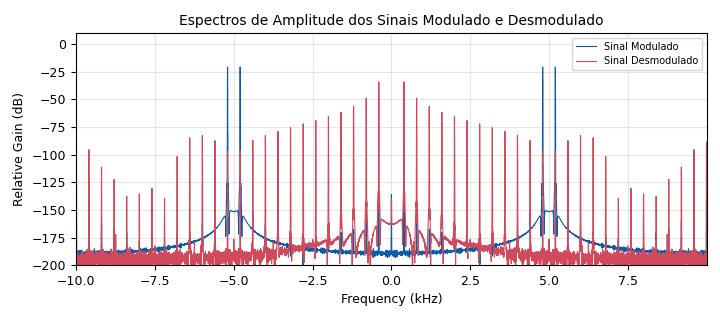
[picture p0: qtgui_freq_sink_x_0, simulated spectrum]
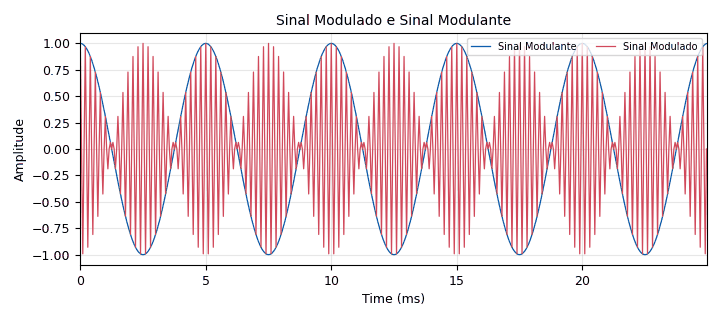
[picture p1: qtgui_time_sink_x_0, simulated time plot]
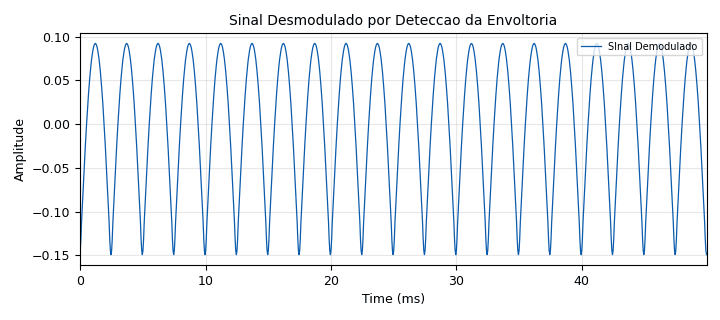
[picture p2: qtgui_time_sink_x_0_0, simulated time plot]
options:
  parameters:
    category: Custom
    generate_options: qt_gui
    id: Labo3_3
    output_language: python
    title: Detecção de envoltória de AM-DSB
  states: {}

blocks:
- name: A
  id: variable_qtgui_range
  parameters:
    gui_hint: 1,1,1,1
    label: Portadora
    outputmsgname: value
    showports: 'False'
    start: '0'
    step: '0.1'
    stop: '3'
    value: '0'
  states: {}
- name: samp_rate
  id: variable
  parameters:
    value: '20000'
  states: {}
- name: Amplitude_Portadora
  id: analog_const_source_x
  parameters:
    const: A
    type: float
  states: {}
- name: Portadora
  id: analog_sig_source_x
  parameters:
    amp: '1'
    freq: '5000'
    offset: '0'
    phase: '0'
    samp_rate: samp_rate
    type: float
    waveform: analog.GR_COS_WAVE
  states: {}
- name: Sinal_Modulante
  id: analog_sig_source_x
  parameters:
    amp: '1'
    freq: '200'
    offset: '0'
    phase: '0'
    samp_rate: samp_rate
    type: float
    waveform: analog.GR_COS_WAVE
  states: {}
- name: analog_am_demod_cf_0
  id: analog_am_demod_cf
  parameters:
    audio_decim: '1'
    audio_pass: '6000.0'
    audio_stop: '7000.0'
    chan_rate: samp_rate
  states: {}
- name: blocks_add_xx_0
  id: blocks_add_xx
  parameters:
    type: float
  states: {}
- name: blocks_float_to_complex_0
  id: blocks_float_to_complex
  parameters: {}
  states: {}
- name: blocks_multiply_xx_0
  id: blocks_multiply_xx
  parameters:
    type: float
  states: {}
- name: blocks_throttle_0
  id: blocks_throttle
  parameters:
    samples_per_second: samp_rate
    type: float
  states: {}
- name: dc_blocker_xx_0_0
  id: dc_blocker_xx
  parameters:
    length: '1000'
    long_form: 'True'
    type: ff
  states: {}
- name: qtgui_freq_sink_x_0
  id: qtgui_freq_sink_x
  parameters:
    bw: samp_rate
    fc: '0'
    fftsize: 2**13
    grid: 'True'
    gui_hint: 0,1,1,1
    label1: Sinal Modulado
    label2: Sinal Desmodulado
    name: Espectros de Amplitude dos Sinais Modulado e Desmodulado
    nconnections: '2'
    showports: 'True'
    type: float
    ymin: '-200'
  states: {}
- name: qtgui_time_sink_x_0
  id: qtgui_time_sink_x
  parameters:
    autoscale: 'True'
    grid: 'True'
    gui_hint: 0,0,1,1
    label1: Sinal Modulante
    label2: Sinal Modulado
    name: Sinal Modulado e Sinal Modulante
    nconnections: '2'
    size: '500'
    srate: samp_rate
    tr_level: '1'
    type: float
    ymax: '3'
    ymin: '-3'
  states: {}
- name: qtgui_time_sink_x_0_0
  id: qtgui_time_sink_x
  parameters:
    autoscale: 'True'
    grid: 'True'
    gui_hint: 1,0,1,1
    label1: SInal Demodulado
    name: Sinal Desmodulado por Deteccao da Envoltoria
    size: '1000'
    srate: samp_rate
    tr_level: '1'
    type: float
  states: {}

connections:
- [Amplitude_Portadora, '0', blocks_add_xx_0, '1']
- [Portadora, '0', blocks_throttle_0, '0']
- [Sinal_Modulante, '0', blocks_add_xx_0, '0']
- [Sinal_Modulante, '0', qtgui_time_sink_x_0, '0']
- [analog_am_demod_cf_0, '0', dc_blocker_xx_0_0, '0']
- [blocks_add_xx_0, '0', blocks_multiply_xx_0, '0']
- [blocks_float_to_complex_0, '0', analog_am_demod_cf_0, '0']
- [blocks_multiply_xx_0, '0', blocks_float_to_complex_0, '0']
- [blocks_multiply_xx_0, '0', qtgui_freq_sink_x_0, '0']
- [blocks_multiply_xx_0, '0', qtgui_time_sink_x_0, '1']
- [blocks_throttle_0, '0', blocks_multiply_xx_0, '1']
- [dc_blocker_xx_0_0, '0', qtgui_freq_sink_x_0, '1']
- [dc_blocker_xx_0_0, '0', qtgui_time_sink_x_0_0, '0']

metadata:
  file_format: 1
  grc_version: 3.10.4.0
